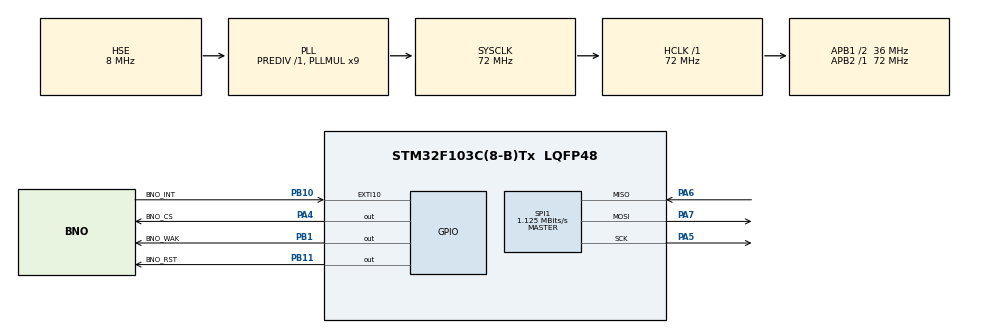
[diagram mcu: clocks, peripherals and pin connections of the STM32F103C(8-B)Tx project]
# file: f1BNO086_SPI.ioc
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Mcu.Family=STM32F1
Mcu.Name=STM32F103C(8-B)Tx
Mcu.Package=LQFP48
NVIC.EXTI15_10_IRQn=true\:1\:0\:false\:false\:true\:true\:false\:false
NVIC.PriorityGroup=NVIC_PRIORITYGROUP_4
PA13.Mode=Serial_Wire
PA13.Signal=SYS_JTMS-SWDIO
PA14.Mode=Serial_Wire
PA14.Signal=SYS_JTCK-SWCLK
PA4.GPIO_Label=BNO_CS
PA4.GPIO_PuPd=GPIO_PULLUP
PA4.GPIO_Speed=GPIO_SPEED_FREQ_HIGH
PA4.PinState=GPIO_PIN_SET
PA4.Signal=GPIO_Output
PA5.Mode=Full_Duplex_Master
PA5.Signal=SPI1_SCK
PA6.Mode=Full_Duplex_Master
PA6.Signal=SPI1_MISO
PA7.Mode=Full_Duplex_Master
PA7.Signal=SPI1_MOSI
PB1.GPIO_Label=BNO_WAK
PB1.GPIO_PuPd=GPIO_PULLUP
PB1.GPIO_Speed=GPIO_SPEED_FREQ_HIGH
PB1.PinState=GPIO_PIN_SET
PB1.Signal=GPIO_Output
PB10.GPIO_Label=BNO_INT
PB10.GPIO_ModeDefaultEXTI=GPIO_MODE_IT_FALLING
PB10.GPIO_PuPd=GPIO_PULLUP
PB10.Signal=GPXTI10
PB11.GPIO_Label=BNO_RST
PB11.GPIO_PuPd=GPIO_PULLUP
PB11.GPIO_Speed=GPIO_SPEED_FREQ_HIGH
PB11.PinState=GPIO_PIN_SET
PB11.Signal=GPIO_Output
PD0-OSC_IN.Mode=HSE-External-Oscillator
PD0-OSC_IN.Signal=RCC_OSC_IN
PD1-OSC_OUT.Mode=HSE-External-Oscillator
PD1-OSC_OUT.Signal=RCC_OSC_OUT
ProjectManager.HeapSize=0x200
ProjectManager.StackSize=0x400
ProjectManager.TargetToolchain=STM32CubeIDE
RCC.AHBFreq_Value=72000000
RCC.APB1CLKDivider=RCC_HCLK_DIV2
RCC.APB1Freq_Value=36000000
RCC.APB1TimFreq_Value=72000000
RCC.APB2Freq_Value=72000000
RCC.APB2TimFreq_Value=72000000
RCC.HCLKFreq_Value=72000000
RCC.PLLMUL=RCC_PLL_MUL9
RCC.PLLSourceVirtual=RCC_PLLSOURCE_HSE
RCC.SYSCLKFreq_VALUE=72000000
RCC.SYSCLKSource=RCC_SYSCLKSOURCE_PLLCLK
RCC.USBFreq_Value=72000000
SPI1.BaudRatePrescaler=SPI_BAUDRATEPRESCALER_64
SPI1.CLKPhase=SPI_PHASE_2EDGE
SPI1.CLKPolarity=SPI_POLARITY_HIGH
SPI1.CalculateBaudRate=1.125 MBits/s
SPI1.Direction=SPI_DIRECTION_2LINES
SPI1.Mode=SPI_MODE_MASTER
SPI1.VirtualType=VM_MASTER
board=custom

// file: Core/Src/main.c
/* USER CODE BEGIN Header */
/**
 ******************************************************************************
 * @file           : main.c
 * @brief          : Main program body
 ******************************************************************************
 * @attention
 *
 * Copyright (c) 2026 STMicroelectronics.
 * All rights reserved.
 *
 * This software is licensed under terms that can be found in the LICENSE file
 * in the root directory of this software component.
 * If no LICENSE file comes with this software, it is provided AS-IS.
 *
 ******************************************************************************
 */
/* USER CODE END Header */
#include "main.h"

/* USER CODE BEGIN Includes */
#include "CEVA_SH2/sh2.h"
#include "CEVA_SH2/sh2_err.h"
#include "CEVA_SH2/sh2_SensorValue.h"
#include "CEVA_SH2/sh2_hal.h"
#include <math.h>
/* USER CODE END Includes */

/* USER CODE BEGIN PTD */
typedef enum {
    BNO_STATUS_OK = 0,
    BNO_STATUS_DISCONNECTED = 1
} BNO_Status_t;

typedef struct {
    struct {
        float roll;
        float pitch;
        float yaw;
    } euler;
    struct {
        float w;
        float x;
        float y;
        float z;
    } quat;
    uint8_t status;
} BNO086_Data_t;
/* USER CODE END PTD */

/* USER CODE BEGIN PD */
#define RAD_TO_DEG (180.0f / 3.14159265358979323846f)
// Set 0 untuk 9-DOF Rotation Vector (Memakai Magnetometer / Utara Magnetis)
// Set 1 untuk 6-DOF Game Rotation Vector (Tanpa Magnetometer / Kebal Magnet)
#define USE_GAME_ROTATION_VECTOR 0
/* USER CODE END PD */

SPI_HandleTypeDef hspi1;

/* USER CODE BEGIN PV */
extern sh2_Hal_t my_sh2_hal;

// Global sensor values
volatile sh2_SensorValue_t live_sensor_data;
volatile BNO_Status_t bno_connection_status = BNO_STATUS_DISCONNECTED;
volatile uint32_t last_bno_rx_tick = 0;
volatile uint32_t last_reconnect_attempt_tick = 0;

// Speed & packet latency tracking
volatile uint32_t bno_last_packet_time_us = 0;
volatile uint32_t bno_packet_dt_us = 0;
volatile float    bno_actual_hz = 0.0f;

// Robot orientation & acceleration
volatile float robot_qx = 0.0f, robot_qy = 0.0f, robot_qz = 0.0f, robot_qw = 1.0f;
volatile float robot_accel_x = 0.0f, robot_accel_y = 0.0f, robot_accel_z = 0.0f;

float robot_roll_deg  = 0.0f;
float robot_pitch_deg = 0.0f;
float robot_yaw_deg   = 0.0f;

struct {
    float roll;
    float pitch;
    float yaw;
} euler;

BNO086_Data_t bno_data;
/* USER CODE END PV */

void SystemClock_Config(void);
static void MX_GPIO_Init(void);
static void MX_SPI1_Init(void);
/* USER CODE BEGIN PFP */
void eventHandler(void *cookie, sh2_AsyncEvent_t *pEvent);
void sensorHandler(void *cookie, sh2_SensorEvent_t *event);
/* USER CODE END PFP */

/* USER CODE BEGIN 0 */
void eventHandler(void *cookie, sh2_AsyncEvent_t *pEvent) {
    if (pEvent->eventId == SH2_RESET) {
        // Sensor underwent reset
    }
}

void sensorHandler(void *cookie, sh2_SensorEvent_t *event) {
    sh2_SensorValue_t value;
    if (sh2_decodeSensorEvent(&value, event) != SH2_OK) return;

    // Pelacakan latency & refresh rate (Hz)
    uint32_t current_time_us = (HAL_GetTick() * 1000U);
    bno_packet_dt_us = current_time_us - bno_last_packet_time_us;
    bno_last_packet_time_us = current_time_us;

    if (bno_packet_dt_us > 0) {
        bno_actual_hz = 1000000.0f / (float)bno_packet_dt_us;
    }

    last_bno_rx_tick = HAL_GetTick();
    bno_connection_status = BNO_STATUS_OK;
    live_sensor_data = value;

    switch (value.sensorId) {
    case SH2_ROTATION_VECTOR:     // 9-DOF IMU (Accelerometer + Gyro + Magnetometer)
    case SH2_GAME_ROTATION_VECTOR: // 6-DOF IMU (Accelerometer + Gyro)
    {
        float r = value.un.rotationVector.real; // qw
        float i = value.un.rotationVector.i;    // qx
        float j = value.un.rotationVector.j;    // qy
        float k = value.un.rotationVector.k;    // qz

        robot_qw = r;
        robot_qx = i;
        robot_qy = j;
        robot_qz = k;

        bno_data.status = value.status;
        bno_data.quat.w = r;
        bno_data.quat.x = i;
        bno_data.quat.y = j;
        bno_data.quat.z = k;

        // Otomatis simpan data kalibrasi ke Flash internal BNO086 jika akurasi mencapai 3 (High Accuracy)
        static uint8_t dcd_saved = 0;
        if (value.status == 3 && !dcd_saved) {
            sh2_saveDcdNow();
            dcd_saved = 1;
        }

        // 1. Roll (X-axis) [-180 s/d +180 deg]
        float sinr_cosp = 2.0f * (r * i + j * k);
        float cosr_cosp = 1.0f - 2.0f * (i * i + j * j);
        euler.roll = atan2f(sinr_cosp, cosr_cosp) * RAD_TO_DEG;
        robot_roll_deg = euler.roll;
        bno_data.euler.roll = euler.roll;

        // 2. Pitch (Y-axis) [-90 s/d +90 deg]
        float sinp = 2.0f * (r * j - k * i);
        if (fabsf(sinp) >= 1.0f) {
            euler.pitch = copysignf(90.0f, sinp);
        } else {
            euler.pitch = asinf(sinp) * RAD_TO_DEG;
        }
        robot_pitch_deg = euler.pitch;
        bno_data.euler.pitch = euler.pitch;

        // 3. Yaw (Z-axis) [-180 s/d +180 deg]
        float siny_cosp = 2.0f * (r * k + i * j);
        float cosy_cosp = 1.0f - 2.0f * (j * j + k * k);
        euler.yaw = atan2f(siny_cosp, cosy_cosp) * RAD_TO_DEG;

        // Normalisasi Yaw agar tetap dalam rentang [-180, +180] deg
        if (euler.yaw > 180.0f)  euler.yaw -= 360.0f;
        if (euler.yaw < -180.0f) euler.yaw += 360.0f;
        robot_yaw_deg = euler.yaw;
        bno_data.euler.yaw = euler.yaw;

        break;
    }
    case SH2_LINEAR_ACCELERATION:
    {
        robot_accel_x = value.un.linearAcceleration.x;
        robot_accel_y = value.un.linearAcceleration.y;
        robot_accel_z = value.un.linearAcceleration.z;
        break;
    }
    default:
        break;
    }
}
/* USER CODE END 0 */

int main(void)
{

  /* MCU Configuration--------------------------------------------------------*/

  /* Reset of all peripherals, Initializes the Flash interface and the Systick. */
  HAL_Init();

  /* Configure the system clock */
  SystemClock_Config();

  /* Initialize all configured peripherals */
  MX_GPIO_Init();
  MX_SPI1_Init();
  /* USER CODE BEGIN 2 */
    // 1. Inisialisasi awal BNO086 via HAL SPI
    if (sh2_open(&my_sh2_hal, eventHandler, NULL) == SH2_OK) {
        bno_connection_status = BNO_STATUS_OK;
        last_bno_rx_tick = HAL_GetTick();

        sh2_setSensorCallback(sensorHandler, NULL);

        // 2. Aktifkan laporan rotasi (10ms = 10000 us / 100 Hz)
        sh2_SensorConfig_t config;
        config.changeSensitivityEnabled = false;
        config.wakeupEnabled = false;
        config.changeSensitivityRelative = false;
        config.alwaysOnEnabled = false;
        config.changeSensitivity = 0;
        config.reportInterval_us = 10000; // 100 Hz
        config.batchInterval_us = 0;

#if USE_GAME_ROTATION_VECTOR
        sh2_setSensorConfig(SH2_GAME_ROTATION_VECTOR, &config);
#else
        sh2_setSensorConfig(SH2_ROTATION_VECTOR, &config);
#endif

        HAL_Delay(10);
        // Aktifkan juga Linear Acceleration
        sh2_setSensorConfig(SH2_LINEAR_ACCELERATION, &config);
    } else {
        bno_connection_status = BNO_STATUS_DISCONNECTED;
    }
  /* USER CODE END 2 */

  /* Infinite loop */
  /* USER CODE BEGIN WHILE */
    while (1)
    {
        if (bno_connection_status == BNO_STATUS_DISCONNECTED) {
            // Auto-reconnect watchdog setiap 500 ms jika koneksi terputus
            if ((HAL_GetTick() - last_reconnect_attempt_tick) > 500) {
                last_reconnect_attempt_tick = HAL_GetTick();

                // 1. Posisikan pin kontrol ke status idle
                HAL_GPIO_WritePin(BNO_CS_GPIO_Port, BNO_CS_Pin, GPIO_PIN_SET);
                HAL_GPIO_WritePin(BNO_WAK_GPIO_Port, BNO_WAK_Pin, GPIO_PIN_SET);

                // 2. Tutup session SHTP & reset hardware
                sh2_close();
                HAL_Delay(10);

                // 3. Reset periferal SPI Mikrokontroler
                HAL_SPI_Abort(&hspi1);
                HAL_SPI_DeInit(&hspi1);
                MX_SPI1_Init();

                // 4. Lepaskan reset BNO086
                HAL_GPIO_WritePin(BNO_RST_GPIO_Port, BNO_RST_Pin, GPIO_PIN_SET);

                // 5. Tunggu BNO086 menyelesaikan internal boot sequence
                HAL_Delay(150);

                // 6. Bersihkan phantom interrupt
                __HAL_GPIO_EXTI_CLEAR_IT(BNO_INT_Pin);
                bno_int_triggered = 0;

                // 7. Cek level fisik pin INT
                if (HAL_GPIO_ReadPin(BNO_INT_GPIO_Port, BNO_INT_Pin) == GPIO_PIN_RESET) {
                    bno_int_triggered = 1;
                }

                // 8. Buka kembali sesi SH2
                if (sh2_open(&my_sh2_hal, eventHandler, NULL) == SH2_OK) {
                    sh2_setSensorCallback(sensorHandler, NULL);

                    sh2_SensorConfig_t config;
                    config.changeSensitivityEnabled = false;
                    config.wakeupEnabled = false;
                    config.changeSensitivityRelative = false;
                    config.alwaysOnEnabled = false;
                    config.changeSensitivity = 0;
                    config.reportInterval_us = 10000; // 100 Hz
                    config.batchInterval_us = 0;

#if USE_GAME_ROTATION_VECTOR
                    if (sh2_setSensorConfig(SH2_GAME_ROTATION_VECTOR, &config) == SH2_OK) {
#else
                    if (sh2_setSensorConfig(SH2_ROTATION_VECTOR, &config) == SH2_OK) {
#endif
                        bno_connection_status = BNO_STATUS_OK;
                        last_bno_rx_tick = HAL_GetTick();
                    }

                    HAL_Delay(10);
                    sh2_setSensorConfig(SH2_LINEAR_ACCELERATION, &config);
                }
            }
        } else {
            // Jalankan polling SHTP untuk memproses pesan sensor
            sh2_service();

            // Watchdog: jika tidak ada data diterima > 300 ms, tandai terputus
            if ((HAL_GetTick() - last_bno_rx_tick) > 300) {
                bno_connection_status = BNO_STATUS_DISCONNECTED;
            }
        }
    /* USER CODE END WHILE */

    }
}

void SystemClock_Config(void)
{
  RCC_OscInitTypeDef RCC_OscInitStruct = {0};
  RCC_ClkInitTypeDef RCC_ClkInitStruct = {0};

  /** Initializes the RCC Oscillators according to the specified parameters
  * in the RCC_OscInitTypeDef structure.
  */
  RCC_OscInitStruct.OscillatorType = RCC_OSCILLATORTYPE_HSE;
  RCC_OscInitStruct.HSEState = RCC_HSE_ON;
  RCC_OscInitStruct.HSEPredivValue = RCC_HSE_PREDIV_DIV1;
  RCC_OscInitStruct.HSIState = RCC_HSI_ON;
  RCC_OscInitStruct.PLL.PLLState = RCC_PLL_ON;
  RCC_OscInitStruct.PLL.PLLSource = RCC_PLLSOURCE_HSE;
  RCC_OscInitStruct.PLL.PLLMUL = RCC_PLL_MUL9;
  if (HAL_RCC_OscConfig(&RCC_OscInitStruct) != HAL_OK)
  {
    Error_Handler();
  }

  /** Initializes the CPU, AHB and APB buses clocks
  */
  RCC_ClkInitStruct.ClockType = RCC_CLOCKTYPE_HCLK|RCC_CLOCKTYPE_SYSCLK
                              |RCC_CLOCKTYPE_PCLK1|RCC_CLOCKTYPE_PCLK2;
  RCC_ClkInitStruct.SYSCLKSource = RCC_SYSCLKSOURCE_PLLCLK;
  RCC_ClkInitStruct.AHBCLKDivider = RCC_SYSCLK_DIV1;
  RCC_ClkInitStruct.APB1CLKDivider = RCC_HCLK_DIV2;
  RCC_ClkInitStruct.APB2CLKDivider = RCC_HCLK_DIV1;

  if (HAL_RCC_ClockConfig(&RCC_ClkInitStruct, FLASH_LATENCY_2) != HAL_OK)
  {
    Error_Handler();
  }
}

static void MX_SPI1_Init(void)
{

  /* SPI1 parameter configuration*/
  hspi1.Instance = SPI1;
  hspi1.Init.Mode = SPI_MODE_MASTER;
  hspi1.Init.Direction = SPI_DIRECTION_2LINES;
  hspi1.Init.DataSize = SPI_DATASIZE_8BIT;
  hspi1.Init.CLKPolarity = SPI_POLARITY_HIGH;
  hspi1.Init.CLKPhase = SPI_PHASE_2EDGE;
  hspi1.Init.NSS = SPI_NSS_SOFT;
  hspi1.Init.BaudRatePrescaler = SPI_BAUDRATEPRESCALER_64;
  hspi1.Init.FirstBit = SPI_FIRSTBIT_MSB;
  hspi1.Init.TIMode = SPI_TIMODE_DISABLE;
  hspi1.Init.CRCCalculation = SPI_CRCCALCULATION_DISABLE;
  hspi1.Init.CRCPolynomial = 10;
  if (HAL_SPI_Init(&hspi1) != HAL_OK)
  {
    Error_Handler();
  }

}

static void MX_GPIO_Init(void)
{
  GPIO_InitTypeDef GPIO_InitStruct = {0};

  /* GPIO Ports Clock Enable */
  __HAL_RCC_GPIOD_CLK_ENABLE();
  __HAL_RCC_GPIOA_CLK_ENABLE();
  __HAL_RCC_GPIOB_CLK_ENABLE();

  /*Configure GPIO pin Output Level */
  HAL_GPIO_WritePin(BNO_CS_GPIO_Port, BNO_CS_Pin, GPIO_PIN_SET);

  /*Configure GPIO pin Output Level */
  HAL_GPIO_WritePin(GPIOB, BNO_WAK_Pin|BNO_RST_Pin, GPIO_PIN_SET);

  /*Configure GPIO pin : BNO_CS_Pin */
  GPIO_InitStruct.Pin = BNO_CS_Pin;
  GPIO_InitStruct.Mode = GPIO_MODE_OUTPUT_PP;
  GPIO_InitStruct.Pull = GPIO_PULLUP;
  GPIO_InitStruct.Speed = GPIO_SPEED_FREQ_HIGH;
  HAL_GPIO_Init(BNO_CS_GPIO_Port, &GPIO_InitStruct);

  /*Configure GPIO pins : BNO_WAK_Pin BNO_RST_Pin */
  GPIO_InitStruct.Pin = BNO_WAK_Pin|BNO_RST_Pin;
  GPIO_InitStruct.Mode = GPIO_MODE_OUTPUT_PP;
  GPIO_InitStruct.Pull = GPIO_PULLUP;
  GPIO_InitStruct.Speed = GPIO_SPEED_FREQ_HIGH;
  HAL_GPIO_Init(GPIOB, &GPIO_InitStruct);

  /*Configure GPIO pin : BNO_INT_Pin */
  GPIO_InitStruct.Pin = BNO_INT_Pin;
  GPIO_InitStruct.Mode = GPIO_MODE_IT_FALLING;
  GPIO_InitStruct.Pull = GPIO_PULLUP;
  HAL_GPIO_Init(BNO_INT_GPIO_Port, &GPIO_InitStruct);

  /* EXTI interrupt init*/
  HAL_NVIC_SetPriority(EXTI15_10_IRQn, 1, 0);

}

void Error_Handler(void)
{
	__disable_irq();
	while (1) {
	}
}
